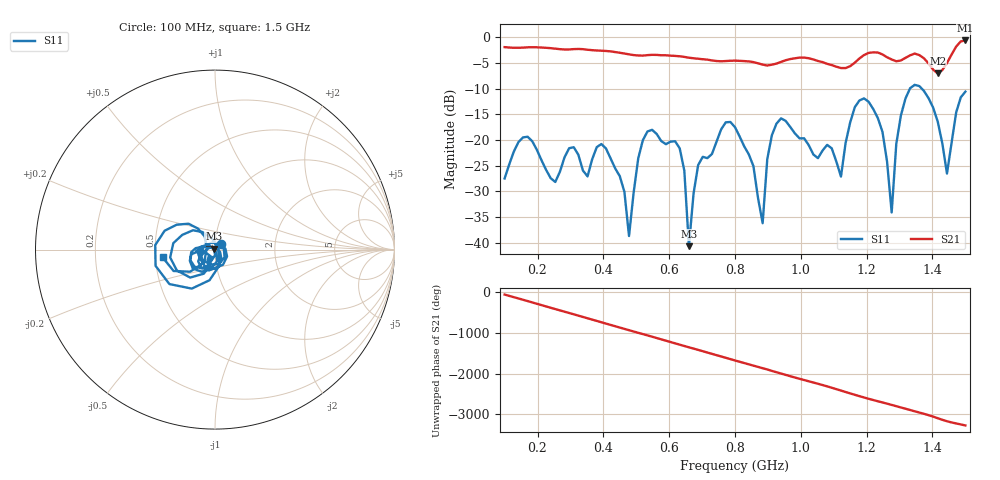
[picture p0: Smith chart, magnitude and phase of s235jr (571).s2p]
! NanoVNA-App
! Date: 2025-09-25 15:08:36
! Start: 100MHz Stop: 1,5GHz Points: 101
! S-Parameter data: F S11 S21 S12 S22
# Hz S RI R 50
!  Frequency  S11_Real  S11_Imag  S21_Real  S21_Imag  S12_Real  S12_Imag  S22_Real  S22_Imag
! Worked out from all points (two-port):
!   101 points, 100 MHz to 1.5 GHz, reference 50 ohm
!   highest |S21| = -0.66 dB at 1.5 GHz (marker M1); lowest = -7.1 dB at 1.416 GHz (marker M2)
!   |S21| within 3 dB of the highest: start of sweep to 617.9 MHz; 1.189 GHz to 1.255 GHz (66.73 MHz wide, 5.46 % of centre) (the widest 2 of 4)
!   lowest |S11| = -40.6 dB at 660 MHz (marker M3), VSWR 1.02, Z = 49.3 + j0.552 ohm
!   |S11| at or under -10 dB: start of sweep to 1.332 GHz; 1.367 GHz to end of sweep
!   S12 and S22 are empty: the file has one direction only
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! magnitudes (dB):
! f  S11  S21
! 100 MHz  -27.5  -2.0
! 170 MHz  -19.4  -2.0
! 338 MHz  -25.9  -2.4
! 408 MHz  -21.6  -2.7
! 478 MHz  -38.7  -3.4
! 520 MHz  -20.0  -3.6
! 576 MHz  -20.2  -3.5
! 632 MHz  -21.6  -3.7
! 660 MHz  -40.6  -4.0
! 688 MHz  -24.9  -4.2
! 800 MHz  -17.5  -4.6
! 884 MHz  -36.2  -5.4
! 926 MHz  -16.8  -5.2
! 1.038 GHz  -22.8  -4.4
! 1.122 GHz  -27.1  -6.0
! 1.206 GHz  -12.6  -3.1
! 1.276 GHz  -34.1  -4.4
! 1.29 GHz  -20.8  -4.7
! 1.332 GHz  -9.9  -3.6
! 1.416 GHz  -16.4  -7.1
! 1.444 GHz  -26.5  -5.1
! 1.5 GHz  -10.6  -0.7
